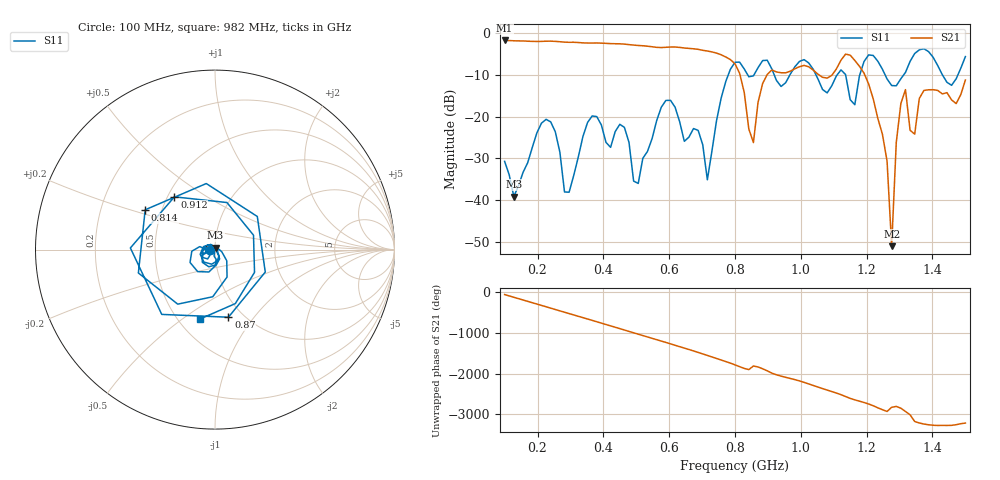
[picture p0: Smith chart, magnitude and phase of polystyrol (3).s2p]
! NanoVNA-App
! Date: 2025-09-25 15:29:55
! Start: 100MHz Stop: 1,5GHz Points: 101
! S-Parameter data: F S11 S21 S12 S22
# Hz S RI R 50
!  Frequency  S11_Real  S11_Imag  S21_Real  S21_Imag  S12_Real  S12_Imag  S22_Real  S22_Imag
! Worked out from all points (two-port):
!   101 points, 100 MHz to 1.5 GHz, reference 50 ohm
!   highest |S21| = -1.80 dB at 100 MHz (marker M1); lowest = -51.0 dB at 1.276 GHz (marker M2)
!   |S21| within 3 dB of the highest: start of sweep to 742.8 MHz
!   lowest |S11| = -39.1 dB at 128 MHz (marker M3), VSWR 1.02, Z = 50.3 + j1.06 ohm
!   |S11| at or under -10 dB: start of sweep to 779.7 MHz; 1.046 GHz to 1.111 GHz (64.82 MHz wide, 6.01 % of centre); 1.256 GHz to 1.313 GHz (56.84 MHz wide, 4.43 % of centre) (the widest 3 of 7)
!   S12 and S22 are empty: the file has one direction only
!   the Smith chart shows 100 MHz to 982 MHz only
!   S11 on the Smith chart (normalised r, x): 100 MHz: 0.94, -0.01; 814 MHz: 0.40, +0.22; 870 MHz: 0.85, -0.75; 912 MHz: 0.54, +0.37; 982 MHz: 0.64, -0.59
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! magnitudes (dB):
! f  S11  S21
! 100 MHz  -30.7  -1.8
! 128 MHz  -39.1  -1.9
! 212 MHz  -21.6  -2.0
! 282 MHz  -38.0  -2.2
! 338 MHz  -24.7  -2.4
! 506 MHz  -36.0  -3.0
! 576 MHz  -17.8  -3.5
! 716 MHz  -35.1  -4.3
! 800 MHz  -7.0  -7.4
! 814 MHz  -7.0  -9.6
! 856 MHz  -10.3  -26.2
! 870 MHz  -8.3  -16.6
! 912 MHz  -8.6  -8.8
! 982 MHz  -8.1  -8.6
! 1.038 GHz  -8.7  -8.9
! 1.192 GHz  -6.8  -9.6
! 1.262 GHz  -11.0  -30.6
! 1.276 GHz  -12.6  -51.0
! 1.29 GHz  -12.6  -26.2
! 1.318 GHz  -9.4  -13.6
! 1.346 GHz  -4.9  -24.2
! 1.5 GHz  -5.7  -11.3
